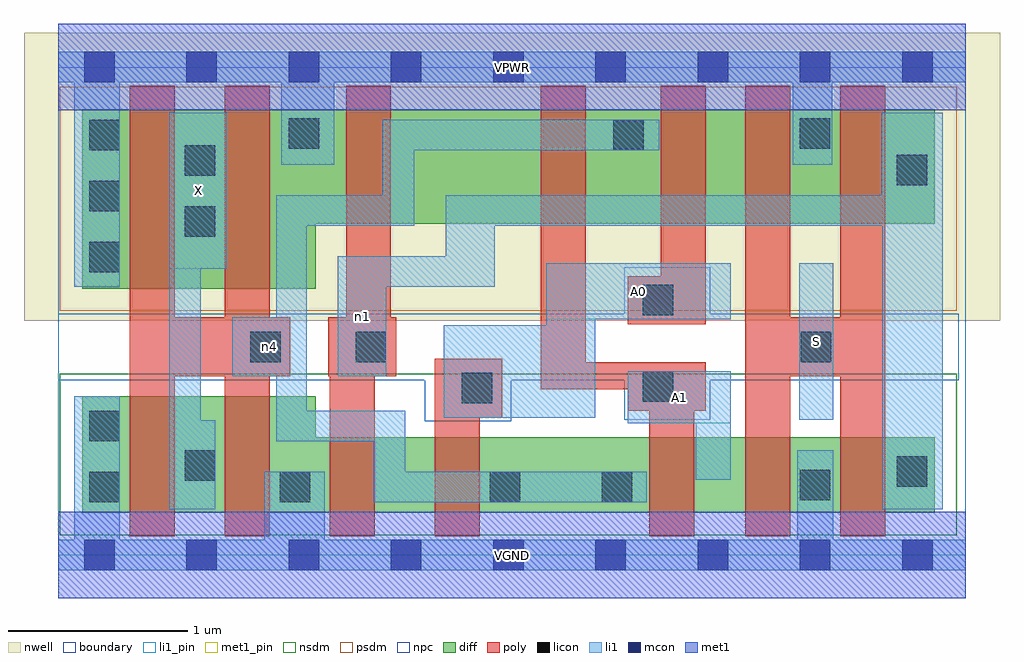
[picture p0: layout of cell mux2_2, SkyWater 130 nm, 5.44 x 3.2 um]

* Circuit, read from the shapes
.subckt mux2_2 A0 A1 S VGND VPWR X n1 n4
XM1 X n4 VGND VSUBS sky130_fd_pr__nfet_01v8 w=0.65 l=0.25 m=2
XM2 n2 n1 VGND VSUBS sky130_fd_pr__nfet_01v8 w=0.42 l=0.25
XM3 n4 A0 n2 VSUBS sky130_fd_pr__nfet_01v8 w=0.42 l=0.25
XM4 n3 A1 n4 VSUBS sky130_fd_pr__nfet_01v8 w=0.42 l=0.25
XM5 VGND S n3 VSUBS sky130_fd_pr__nfet_01v8 w=0.42 l=0.25
XM6 n1 S VGND VSUBS sky130_fd_pr__nfet_01v8 w=0.42 l=0.25
XM7 X n4 VPWR n5 sky130_fd_pr__pfet_01v8 w=1 l=0.25 m=2
XM8 n6 n1 VPWR n5 sky130_fd_pr__pfet_01v8 w=0.64 l=0.25
XM9 n4 A1 n6 n5 sky130_fd_pr__pfet_01v8 w=0.64 l=0.25
XM10 n7 A0 n4 n5 sky130_fd_pr__pfet_01v8 w=0.64 l=0.25
XM11 VPWR S n7 n5 sky130_fd_pr__pfet_01v8 w=0.64 l=0.25
XM12 n1 S VPWR n5 sky130_fd_pr__pfet_01v8 w=0.64 l=0.25
.ends

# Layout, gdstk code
import gdstk
lib = gdstk.Library(unit=1e-6, precision=1e-09)
def R(c, l, rs):  # rectangles x0, y0, x1, y1
    for r in rs: c.add(gdstk.rectangle(r[:2], r[2:], *l))
def A(c, l, x, y, w, h, nx, ny, dx, dy):  # array of equal rectangles
    R(c, l, [(x+i*dx, y+j*dy, x+i*dx+w, y+j*dy+h) for i in range(nx) for j in range(ny)])
nwell = (64, 20)
diff = (65, 20)
poly = (66, 20)
licon = (66, 44)
li1_pin = (67, 16)
li1 = (67, 20)
mcon = (67, 44)
met1_pin = (68, 16)
met1 = (68, 20)
nsdm = (93, 44)
psdm = (94, 20)
npc = (95, 20)
boundary = (235, 4)

mux2_2 = lib.new_cell('mux2_2')
R(mux2_2, nwell, [(-0.19,1.305,5.25,2.91), (0,1.305,5.06,2.91)])
R(mux2_2, diff, [(0.135,0.235,4.885,0.655), (0.135,0.235,1.435,0.885), (0.135,1.485,1.435,2.485), (0.135,1.845,4.885,2.485)])
R(mux2_2, poly, [(0.4,0.105,0.65,2.615), (0.93,0.105,1.18,2.615), (1.515,0.105,1.765,1.325), (2.1,0.105,2.35,1.095), (3.295,0.105,3.545,1.075), (3.83,0.105,4.08,2.615), (4.36,0.105,4.61,2.615), (2.1,0.765,2.475,1.095), (3.175,0.805,3.61,1.075), (2.69,0.925,2.94,2.615), (2.69,0.925,3.61,1.075), (0.4,0.995,1.295,1.325), (1.505,0.995,1.885,1.325), (1.605,0.995,1.855,2.615), (3.83,0.995,4.61,1.325), (3.175,1.285,3.61,1.555), (3.36,1.285,3.61,2.615)])
A(mux2_2, licon, 0.175, 1.575, 0.17, 0.17, 1, 3, 0, 0.34)
R(mux2_2, licon, [(0.175,0.295,0.345,0.465), (1.235,0.295,1.405,0.465), (2.405,0.295,2.575,0.465), (3.03,0.295,3.2,0.465), (4.135,0.305,4.305,0.475), (4.675,0.38,4.845,0.55), (0.705,0.415,0.875,0.585), (0.175,0.635,0.345,0.805), (2.25,0.845,2.42,1.015), (3.26,0.855,3.43,1.025), (1.07,1.075,1.24,1.245), (1.66,1.075,1.83,1.245), (4.14,1.075,4.31,1.245), (3.26,1.335,3.43,1.505), (0.705,1.775,0.875,1.945), (4.675,2.06,4.845,2.23), (0.705,2.115,0.875,2.285), (3.095,2.255,3.265,2.425), (1.285,2.265,1.455,2.435), (4.135,2.265,4.305,2.435)])
R(mux2_2, li1_pin, [(3.175,0.735,3.75,1.025), (4.13,0.755,4.32,1.625), (2.72,1.315,3.75,1.625), (0.62,1.595,0.94,2.465)])
R(mux2_2, li1, [(0,-0.085,5.06,0.085), (0.09,-0.085,0.345,0.885), (1.15,-0.085,1.485,0.465), (4.12,-0.085,4.32,0.585), (0.62,0.255,0.795,2.465), (0.62,0.255,0.875,0.75), (4.595,0.255,4.93,2.465), (1.76,0.295,3.28,0.465), (1.76,0.295,1.935,0.805), (3.555,0.42,3.75,1.025), (1.215,0.635,1.385,2.005), (1.215,0.635,1.935,0.805), (3.175,0.735,3.75,1.025), (4.13,0.755,4.32,1.625), (2.15,0.765,2.995,1.28), (2.72,0.765,2.995,1.625), (0.97,0.995,1.385,1.325), (1.56,0.995,1.83,1.665), (2.72,1.315,3.75,1.625), (0.09,1.495,0.345,2.805), (1.56,1.495,2.435,1.665), (2.16,1.495,2.435,2.005), (0.62,1.595,0.94,2.465), (1.215,1.835,1.985,2.005), (1.81,1.835,1.985,2.425), (2.16,1.835,4.93,2.005), (4.59,1.835,4.93,2.465), (1.245,2.175,1.54,2.805), (4.095,2.175,4.315,2.805), (1.81,2.255,3.35,2.425), (0,2.635,5.06,2.805)])
A(mux2_2, mcon, 0.145, -0.085, 0.17, 0.17, 9, 2, 0.57, 2.72)
R(mux2_2, met1_pin, [(0,-0.24,5.06,0.24), (0,2.48,5.06,2.96)])
R(mux2_2, met1, [(0,-0.24,5.06,0.24), (0,2.48,5.06,2.96)])
R(mux2_2, nsdm, [(0.01,0.11,5.01,1.01)])
R(mux2_2, psdm, [(0.01,1.36,5.01,2.61)])
R(mux2_2, npc, [(2.045,0.745,2.525,1.345), (3.155,0.755,3.635,1.605), (0,0.975,5.02,1.345)])
R(mux2_2, boundary, [(0,0,5.06,2.72)])
mux2_2.add(gdstk.Label('A0', (3.235,1.47), layer=67, texttype=5))
mux2_2.add(gdstk.Label('A1', (3.462,0.88), layer=67, texttype=5))
mux2_2.add(gdstk.Label('S', (4.225,1.19), layer=67, texttype=5))
mux2_2.add(gdstk.Label('X', (0.78,2.03), layer=67, texttype=5))
mux2_2.add(gdstk.Label('n4', (1.177,1.16), layer=67, texttype=5))
mux2_2.add(gdstk.Label('n1', (1.695,1.33), layer=67, texttype=5))
mux2_2.add(gdstk.Label('VPWR', (2.53,2.72), layer=68, texttype=5))
mux2_2.add(gdstk.Label('VGND', (2.53,0), layer=68, texttype=5))
mux2_2.add(gdstk.Label('A0', (3.235,1.47), layer=67, texttype=16))
mux2_2.add(gdstk.Label('A1', (3.462,0.88), layer=67, texttype=16))
mux2_2.add(gdstk.Label('S', (4.225,1.19), layer=67, texttype=16))
mux2_2.add(gdstk.Label('X', (0.78,2.03), layer=67, texttype=16))
mux2_2.add(gdstk.Label('VPWR', (2.53,2.72), layer=68, texttype=16))
mux2_2.add(gdstk.Label('VGND', (2.53,0), layer=68, texttype=16))

lib.write_gds('mux2_2.gds')
